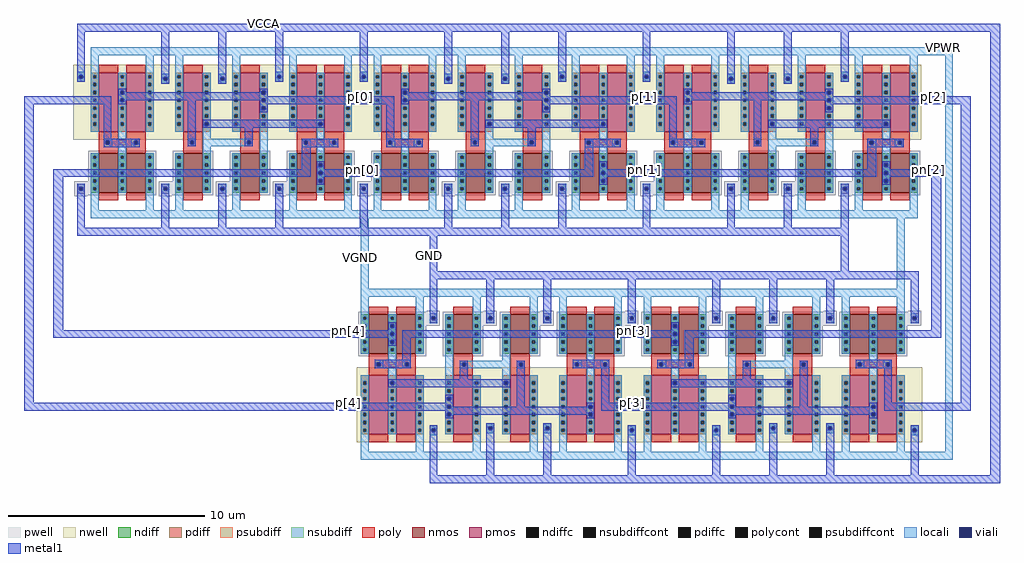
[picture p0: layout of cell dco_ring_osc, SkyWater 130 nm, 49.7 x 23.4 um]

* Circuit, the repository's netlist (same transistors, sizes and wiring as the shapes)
* NGSPICE file created from dco_ring_osc.ext - technology: sky130A

.subckt dco_aux_inv VPWR VCCA A Y GND VGND
X0 Y A VGND GND sky130_fd_pr__nfet_01v8 ad=0.8 pd=4.8 as=0.8 ps=4.8 w=2 l=1
X1 Y A VPWR VCCA sky130_fd_pr__pfet_01v8 ad=1.2 pd=6.8 as=1.2 ps=6.8 w=3 l=1
.ends

.subckt dco_main_inv VPWR VCCA Y GND VGND A
X0 Y A VGND GND sky130_fd_pr__nfet_01v8 ad=0.4 pd=2.4 as=0.8 ps=4.8 w=2 l=1 M=2
X1 VPWR A Y VCCA sky130_fd_pr__pfet_01v8 ad=1.2 pd=6.8 as=0.6 ps=3.4 w=3 l=1 M=2
.ends

.subckt dco_cc_inv outp inp inn outn VCCA VGND VPWR GND
Xdco_aux_inv_0 VPWR VCCA outp outn GND VGND dco_aux_inv
Xdco_aux_inv_1 VPWR VCCA outn outp GND VGND dco_aux_inv
Xdco_main_inv_0 VPWR VCCA outp GND VGND inp dco_main_inv
Xdco_main_inv_1 VPWR VCCA outn GND VGND inn dco_main_inv
.ends

.subckt dco_ring_osc VCCA GND VGND VPWR p[0] p[1] p[2] p[3] p[4] pn[0] pn[1] pn[2]
+ pn[3] pn[4]
Xdco_cc_inv_0 p[0] p[4] pn[4] pn[0] VCCA VGND VPWR GND dco_cc_inv
Xdco_cc_inv_1 p[1] p[0] pn[0] pn[1] VCCA VGND VPWR GND dco_cc_inv
Xdco_cc_inv_2 p[2] p[1] pn[1] pn[2] VCCA VGND VPWR GND dco_cc_inv
Xdco_cc_inv_3 p[4] p[3] pn[3] pn[4] VCCA VGND VPWR GND dco_cc_inv
Xdco_cc_inv_4 p[3] p[2] pn[2] pn[3] VCCA VGND VPWR GND dco_cc_inv
.ends

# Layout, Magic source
magic
tech sky130A
<< locali >>
rect 1360 920 1545 960
rect 2805 920 3095 960
rect 4210 920 4480 960
rect 1320 90 1585 130
rect 2810 90 3005 130
rect 1465 -330 1505 90
rect 2750 -310 2965 -270
rect 4195 -315 4235 115
rect 4440 -1100 4480 920
rect 2735 -1140 2965 -1100
rect 4175 -1140 4480 -1100
<< metal1 >>
rect 915 1040 1480 1080
rect 2345 1040 2935 1080
rect 3850 1040 4720 1080
rect -250 670 0 710
rect 1420 670 1530 710
rect 2860 670 2970 710
rect 4320 670 4570 710
rect -250 -850 -200 670
rect -100 300 0 340
rect 1420 300 1530 340
rect 2860 300 2970 340
rect 4315 300 4420 340
rect -100 -480 -50 300
rect 1025 0 1505 40
rect 1815 -235 1855 30
rect 2470 0 3005 40
rect 2815 -220 3390 -180
rect 3910 -220 3950 40
rect 4370 -480 4420 300
rect -100 -520 1445 -480
rect 2795 -520 2905 -480
rect 4320 -520 4420 -480
rect 4520 -850 4570 670
rect -250 -890 1445 -850
rect 2795 -890 2905 -850
rect 4315 -890 4570 -850
rect 4670 -1220 4720 1040
rect 2815 -1260 3310 -1220
rect 4250 -1260 4720 -1220
use dco_cc_inv  dco_cc_inv_0
transform 1 0 0 0 1 90
box 0 -90 1440 990
use dco_cc_inv  dco_cc_inv_1
transform 1 0 1440 0 1 90
box 0 -90 1440 990
use dco_cc_inv  dco_cc_inv_2
transform 1 0 2880 0 1 90
box 0 -90 1440 990
use dco_cc_inv  dco_cc_inv_3
transform -1 0 2885 0 -1 -270
box 0 -90 1440 990
use dco_cc_inv  dco_cc_inv_4
transform -1 0 4325 0 -1 -270
box 0 -90 1440 990
<< labels >>
rlabel metal1 s 970 1080 970 1080 4 VCCA
rlabel metal1 s 1815 -100 1815 -100 4 GND
rlabel locali s 1465 -110 1465 -110 4 VGND
rlabel locali s 4430 960 4430 960 4 VPWR
rlabel metal1 s 1465 710 1465 710 4 p[0]
rlabel metal1 s 2910 710 2910 710 4 p[1]
rlabel metal1 s 4380 710 4380 710 4 p[2]
rlabel metal1 s 2850 -850 2850 -850 4 p[3]
rlabel metal1 s 1400 -850 1400 -850 4 p[4]
rlabel metal1 s 1475 340 1475 340 4 pn[0]
rlabel metal1 s 2910 340 2910 340 4 pn[1]
rlabel metal1 s 4355 340 4355 340 4 pn[2]
rlabel metal1 s 2855 -480 2855 -480 4 pn[3]
rlabel metal1 s 1400 -480 1400 -480 4 pn[4]
<< end >>

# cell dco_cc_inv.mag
magic
tech sky130A
magscale 1 2
<< nwell >>
rect 1920 1260 1960 1300
rect 1920 1180 1960 1220
<< pwell >>
rect 2474 414 2566 586
<< ndiff >>
rect 2500 557 2540 560
rect 2500 523 2503 557
rect 2537 523 2540 557
rect 2500 520 2540 523
rect 2500 477 2540 480
rect 2500 443 2503 477
rect 2537 443 2540 477
rect 2500 440 2540 443
<< pdiff >>
rect 1920 1297 1960 1300
rect 1920 1263 1923 1297
rect 1957 1263 1960 1297
rect 1920 1260 1960 1263
rect 1920 1217 1960 1220
rect 1920 1183 1923 1217
rect 1957 1183 1960 1217
rect 1920 1180 1960 1183
<< ndiffc >>
rect 2503 523 2537 557
rect 2503 443 2537 477
<< pdiffc >>
rect 1923 1263 1957 1297
rect 1923 1183 1957 1217
<< poly >>
rect 1190 787 1230 790
rect 1190 753 1193 787
rect 1227 753 1230 787
rect 1190 750 1230 753
rect 1770 787 1810 790
rect 1770 753 1773 787
rect 1807 753 1810 787
rect 1770 750 1810 753
<< polycont >>
rect 1193 753 1227 787
rect 1773 753 1807 787
<< locali >>
rect 670 1660 2310 1740
rect 1040 1480 1120 1660
rect 1620 1480 1700 1660
rect 480 1297 520 1300
rect 480 1263 483 1297
rect 517 1263 520 1297
rect 480 1260 520 1263
rect 1920 1297 1960 1300
rect 1920 1263 1923 1297
rect 1957 1263 1960 1297
rect 1920 1260 1960 1263
rect 480 1217 520 1220
rect 480 1183 483 1217
rect 517 1183 520 1217
rect 480 1180 520 1183
rect 1920 1217 1960 1220
rect 1920 1183 1923 1217
rect 1957 1183 1960 1217
rect 1920 1180 1960 1183
rect 1920 1137 1960 1140
rect 1920 1103 1923 1137
rect 1957 1103 1960 1137
rect 1920 1100 1960 1103
rect 1340 977 1380 980
rect 1340 943 1343 977
rect 1377 943 1380 977
rect 1340 940 1380 943
rect 2500 977 2540 980
rect 2500 943 2503 977
rect 2537 943 2540 977
rect 2500 940 2540 943
rect 1170 787 1250 810
rect 1170 753 1193 787
rect 1227 753 1250 787
rect 1170 730 1250 753
rect 1400 787 1830 810
rect 1400 753 1773 787
rect 1807 753 1830 787
rect 1400 730 1830 753
rect 2500 557 2540 560
rect 2500 523 2503 557
rect 2537 523 2540 557
rect 2500 520 2540 523
rect 2500 477 2540 480
rect 2500 443 2503 477
rect 2537 443 2540 477
rect 2500 440 2540 443
rect 2500 397 2540 400
rect 2500 363 2503 397
rect 2537 363 2540 397
rect 2500 360 2540 363
rect 1040 80 1120 260
rect 1620 80 1700 260
rect 600 0 2220 80
<< viali >>
rect 483 1263 517 1297
rect 1923 1263 1957 1297
rect 483 1183 517 1217
rect 1923 1183 1957 1217
rect 1923 1103 1957 1137
rect 1343 943 1377 977
rect 2503 943 2537 977
rect 1193 753 1227 787
rect 1773 753 1807 787
rect 2503 523 2537 557
rect 2503 443 2537 477
rect 2503 363 2537 397
<< metal1 >>
rect 40 1900 2140 1980
rect 40 1490 120 1900
rect 900 1470 980 1900
rect 1480 1470 1560 1900
rect 2060 1490 2140 1900
rect 460 1297 540 1320
rect 460 1263 483 1297
rect 517 1280 540 1297
rect 1900 1297 1980 1320
rect 1900 1280 1923 1297
rect 517 1263 1923 1280
rect 1957 1263 1980 1297
rect 460 1240 1980 1263
rect 0 1160 390 1240
rect 460 1217 2880 1240
rect 460 1183 483 1217
rect 517 1200 1923 1217
rect 517 1183 540 1200
rect 460 1160 540 1183
rect 310 810 390 1160
rect 1170 787 1250 1200
rect 1900 1183 1923 1200
rect 1957 1183 2880 1217
rect 1900 1160 2880 1183
rect 1900 1137 1980 1160
rect 1900 1103 1923 1137
rect 1957 1103 1980 1137
rect 1900 1080 1980 1103
rect 1320 977 2560 1000
rect 1320 943 1343 977
rect 1377 943 2503 977
rect 2537 943 2560 977
rect 1320 920 2560 943
rect 1170 753 1193 787
rect 1227 753 1250 787
rect 1170 730 1250 753
rect 1750 787 1830 920
rect 1750 753 1773 787
rect 1807 753 1830 787
rect 1750 730 1830 753
rect 2330 500 2420 720
rect 0 420 2420 500
rect 2480 557 2560 580
rect 2480 523 2503 557
rect 2537 523 2560 557
rect 2480 500 2560 523
rect 2480 477 2880 500
rect 2480 443 2503 477
rect 2537 443 2880 477
rect 2480 420 2880 443
rect 2480 397 2560 420
rect 2480 363 2503 397
rect 2537 363 2560 397
rect 2480 340 2560 363
rect 40 -100 120 250
rect 900 -100 980 250
rect 1480 -100 1560 250
rect 2060 -100 2140 250
rect 40 -180 2140 -100
use dco_aux_inv  dco_aux_inv_0
transform 1 0 1120 0 1 880
box -260 -700 320 680
use dco_aux_inv  dco_aux_inv_1
transform 1 0 1700 0 1 880
box -260 -700 320 680
use dco_main_inv  dco_main_inv_0
transform 1 0 260 0 1 880
box -260 -880 600 860
use dco_main_inv  dco_main_inv_1
transform 1 0 2280 0 1 880
box -260 -880 600 860
<< labels >>
rlabel metal1 s 60 1980 60 1980 4 VCCA
rlabel locali s 1290 1740 1290 1740 4 VPWR
rlabel metal1 s 2880 1200 2880 1200 4 outp
rlabel metal1 s 0 1200 0 1200 4 inp
rlabel metal1 s 0 460 0 460 4 inn
rlabel metal1 s 2880 460 2880 460 4 outn
rlabel metal1 s 130 -180 130 -180 4 GND
rlabel locali s 1310 0 1310 0 4 VGND
<< end >>

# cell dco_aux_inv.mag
magic
tech sky130A
magscale 1 2
<< nwell >>
rect -260 -80 320 680
<< pwell >>
rect -106 -504 306 -194
rect -246 -646 306 -504
rect -246 -656 -114 -646
<< nmos >>
rect 0 -620 200 -220
<< pmos >>
rect 0 0 200 600
<< ndiff >>
rect -80 -243 0 -220
rect -80 -277 -57 -243
rect -23 -277 0 -243
rect -80 -323 0 -277
rect -80 -357 -57 -323
rect -23 -357 0 -323
rect -80 -403 0 -357
rect -80 -437 -57 -403
rect -23 -437 0 -403
rect -80 -483 0 -437
rect -80 -517 -57 -483
rect -23 -517 0 -483
rect -80 -563 0 -517
rect -80 -597 -57 -563
rect -23 -597 0 -563
rect -80 -620 0 -597
rect 200 -243 280 -220
rect 200 -277 223 -243
rect 257 -277 280 -243
rect 200 -323 280 -277
rect 200 -357 223 -323
rect 257 -357 280 -323
rect 200 -403 280 -357
rect 200 -437 223 -403
rect 257 -437 280 -403
rect 200 -483 280 -437
rect 200 -517 223 -483
rect 257 -517 280 -483
rect 200 -563 280 -517
rect 200 -597 223 -563
rect 257 -597 280 -563
rect 200 -620 280 -597
<< pdiff >>
rect -80 577 0 600
rect -80 543 -57 577
rect -23 543 0 577
rect -80 497 0 543
rect -80 463 -57 497
rect -23 463 0 497
rect -80 417 0 463
rect -80 383 -57 417
rect -23 383 0 417
rect -80 337 0 383
rect -80 303 -57 337
rect -23 303 0 337
rect -80 257 0 303
rect -80 223 -57 257
rect -23 223 0 257
rect -80 177 0 223
rect -80 143 -57 177
rect -23 143 0 177
rect -80 97 0 143
rect -80 63 -57 97
rect -23 63 0 97
rect -80 0 0 63
rect 200 577 280 600
rect 200 543 223 577
rect 257 543 280 577
rect 200 497 280 543
rect 200 463 223 497
rect 257 463 280 497
rect 200 417 280 463
rect 200 383 223 417
rect 257 383 280 417
rect 200 337 280 383
rect 200 303 223 337
rect 257 303 280 337
rect 200 257 280 303
rect 200 223 223 257
rect 257 223 280 257
rect 200 177 280 223
rect 200 143 223 177
rect 257 143 280 177
rect 200 97 280 143
rect 200 63 223 97
rect 257 63 280 97
rect 200 0 280 63
<< ndiffc >>
rect -57 -277 -23 -243
rect -57 -357 -23 -323
rect -57 -437 -23 -403
rect -57 -517 -23 -483
rect -57 -597 -23 -563
rect 223 -277 257 -243
rect 223 -357 257 -323
rect 223 -437 257 -403
rect 223 -517 257 -483
rect 223 -597 257 -563
<< pdiffc >>
rect -57 543 -23 577
rect -57 463 -23 497
rect -57 383 -23 417
rect -57 303 -23 337
rect -57 223 -23 257
rect -57 143 -23 177
rect -57 63 -23 97
rect 223 543 257 577
rect 223 463 257 497
rect 223 383 257 417
rect 223 303 257 337
rect 223 223 257 257
rect 223 143 257 177
rect 223 63 257 97
<< psubdiff >>
rect -220 -563 -140 -530
rect -220 -597 -197 -563
rect -163 -597 -140 -563
rect -220 -630 -140 -597
<< nsubdiff >>
rect -220 557 -140 590
rect -220 523 -197 557
rect -163 523 -140 557
rect -220 490 -140 523
<< psubdiffcont >>
rect -197 -597 -163 -563
<< nsubdiffcont >>
rect -197 523 -163 557
<< poly >>
rect 0 600 200 680
rect 0 -220 200 0
rect 0 -700 200 -620
<< locali >>
rect -220 557 -140 590
rect -220 523 -197 557
rect -163 523 -140 557
rect -220 490 -140 523
rect -80 577 0 600
rect -80 543 -57 577
rect -23 543 0 577
rect -80 497 0 543
rect -80 463 -57 497
rect -23 463 0 497
rect -80 417 0 463
rect -80 383 -57 417
rect -23 383 0 417
rect -80 337 0 383
rect -80 303 -57 337
rect -23 303 0 337
rect -80 257 0 303
rect -80 223 -57 257
rect -23 223 0 257
rect -80 177 0 223
rect -80 143 -57 177
rect -23 143 0 177
rect -80 97 0 143
rect -80 63 -57 97
rect -23 63 0 97
rect -80 0 0 63
rect 200 577 280 600
rect 200 543 223 577
rect 257 543 280 577
rect 200 497 280 543
rect 200 463 223 497
rect 257 463 280 497
rect 200 417 280 463
rect 200 383 223 417
rect 257 383 280 417
rect 200 337 280 383
rect 200 303 223 337
rect 257 303 280 337
rect 200 257 280 303
rect 200 223 223 257
rect 257 223 280 257
rect 200 177 280 223
rect 200 143 223 177
rect 257 143 280 177
rect 200 97 280 143
rect 200 63 223 97
rect 257 63 280 97
rect -80 -243 0 -220
rect -80 -277 -57 -243
rect -23 -277 0 -243
rect -80 -323 0 -277
rect -80 -357 -57 -323
rect -23 -357 0 -323
rect -80 -403 0 -357
rect -80 -437 -57 -403
rect -23 -437 0 -403
rect -80 -483 0 -437
rect -80 -517 -57 -483
rect -23 -517 0 -483
rect -220 -563 -140 -530
rect -220 -597 -197 -563
rect -163 -597 -140 -563
rect -220 -630 -140 -597
rect -80 -563 0 -517
rect -80 -597 -57 -563
rect -23 -597 0 -563
rect -80 -620 0 -597
rect 200 -243 280 63
rect 200 -277 223 -243
rect 257 -277 280 -243
rect 200 -323 280 -277
rect 200 -357 223 -323
rect 257 -357 280 -323
rect 200 -403 280 -357
rect 200 -437 223 -403
rect 257 -437 280 -403
rect 200 -483 280 -437
rect 200 -517 223 -483
rect 257 -517 280 -483
rect 200 -563 280 -517
rect 200 -597 223 -563
rect 257 -597 280 -563
rect 200 -620 280 -597
<< viali >>
rect -197 523 -163 557
rect -197 -597 -163 -563
<< metal1 >>
rect -220 557 -140 590
rect -220 523 -197 557
rect -163 523 -140 557
rect -220 490 -140 523
rect -220 -563 -140 -530
rect -220 -597 -197 -563
rect -163 -597 -140 -563
rect -220 -630 -140 -597
<< labels >>
rlabel locali s -40 600 -40 600 4 VPWR
rlabel metal1 s -180 590 -180 590 4 VCCA
rlabel poly s 0 -110 0 -110 4 A
rlabel locali s 280 -110 280 -110 4 Y
rlabel metal1 s -180 -530 -180 -530 4 GND
rlabel locali s -40 -620 -40 -620 4 VGND
<< end >>

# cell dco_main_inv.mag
magic
tech sky130A
magscale 1 2
<< nwell >>
rect -260 -80 600 680
<< pwell >>
rect -106 -504 586 -194
rect -246 -646 586 -504
rect -246 -656 -114 -646
<< nmos >>
rect 0 -620 200 -220
rect 280 -620 480 -220
<< pmos >>
rect 0 0 200 600
rect 280 0 480 600
<< ndiff >>
rect -80 -243 0 -220
rect -80 -277 -57 -243
rect -23 -277 0 -243
rect -80 -323 0 -277
rect -80 -357 -57 -323
rect -23 -357 0 -323
rect -80 -403 0 -357
rect -80 -437 -57 -403
rect -23 -437 0 -403
rect -80 -483 0 -437
rect -80 -517 -57 -483
rect -23 -517 0 -483
rect -80 -563 0 -517
rect -80 -597 -57 -563
rect -23 -597 0 -563
rect -80 -620 0 -597
rect 200 -243 280 -220
rect 200 -277 223 -243
rect 257 -277 280 -243
rect 200 -323 280 -277
rect 200 -357 223 -323
rect 257 -357 280 -323
rect 200 -403 280 -357
rect 200 -437 223 -403
rect 257 -437 280 -403
rect 200 -483 280 -437
rect 200 -517 223 -483
rect 257 -517 280 -483
rect 200 -563 280 -517
rect 200 -597 223 -563
rect 257 -597 280 -563
rect 200 -620 280 -597
rect 480 -243 560 -220
rect 480 -277 503 -243
rect 537 -277 560 -243
rect 480 -323 560 -277
rect 480 -357 503 -323
rect 537 -357 560 -323
rect 480 -403 560 -357
rect 480 -437 503 -403
rect 537 -437 560 -403
rect 480 -483 560 -437
rect 480 -517 503 -483
rect 537 -517 560 -483
rect 480 -563 560 -517
rect 480 -597 503 -563
rect 537 -597 560 -563
rect 480 -620 560 -597
<< pdiff >>
rect -80 577 0 600
rect -80 543 -57 577
rect -23 543 0 577
rect -80 497 0 543
rect -80 463 -57 497
rect -23 463 0 497
rect -80 417 0 463
rect -80 383 -57 417
rect -23 383 0 417
rect -80 337 0 383
rect -80 303 -57 337
rect -23 303 0 337
rect -80 257 0 303
rect -80 223 -57 257
rect -23 223 0 257
rect -80 177 0 223
rect -80 143 -57 177
rect -23 143 0 177
rect -80 97 0 143
rect -80 63 -57 97
rect -23 63 0 97
rect -80 0 0 63
rect 200 577 280 600
rect 200 543 223 577
rect 257 543 280 577
rect 200 497 280 543
rect 200 463 223 497
rect 257 463 280 497
rect 200 417 280 463
rect 200 383 223 417
rect 257 383 280 417
rect 200 337 280 383
rect 200 303 223 337
rect 257 303 280 337
rect 200 257 280 303
rect 200 223 223 257
rect 257 223 280 257
rect 200 177 280 223
rect 200 143 223 177
rect 257 143 280 177
rect 200 97 280 143
rect 200 63 223 97
rect 257 63 280 97
rect 200 0 280 63
rect 480 577 560 600
rect 480 543 503 577
rect 537 543 560 577
rect 480 497 560 543
rect 480 463 503 497
rect 537 463 560 497
rect 480 417 560 463
rect 480 383 503 417
rect 537 383 560 417
rect 480 337 560 383
rect 480 303 503 337
rect 537 303 560 337
rect 480 257 560 303
rect 480 223 503 257
rect 537 223 560 257
rect 480 177 560 223
rect 480 143 503 177
rect 537 143 560 177
rect 480 97 560 143
rect 480 63 503 97
rect 537 63 560 97
rect 480 0 560 63
<< ndiffc >>
rect -57 -277 -23 -243
rect -57 -357 -23 -323
rect -57 -437 -23 -403
rect -57 -517 -23 -483
rect -57 -597 -23 -563
rect 223 -277 257 -243
rect 223 -357 257 -323
rect 223 -437 257 -403
rect 223 -517 257 -483
rect 223 -597 257 -563
rect 503 -277 537 -243
rect 503 -357 537 -323
rect 503 -437 537 -403
rect 503 -517 537 -483
rect 503 -597 537 -563
<< pdiffc >>
rect -57 543 -23 577
rect -57 463 -23 497
rect -57 383 -23 417
rect -57 303 -23 337
rect -57 223 -23 257
rect -57 143 -23 177
rect -57 63 -23 97
rect 223 543 257 577
rect 223 463 257 497
rect 223 383 257 417
rect 223 303 257 337
rect 223 223 257 257
rect 223 143 257 177
rect 223 63 257 97
rect 503 543 537 577
rect 503 463 537 497
rect 503 383 537 417
rect 503 303 537 337
rect 503 223 537 257
rect 503 143 537 177
rect 503 63 537 97
<< psubdiff >>
rect -220 -563 -140 -530
rect -220 -597 -197 -563
rect -163 -597 -140 -563
rect -220 -630 -140 -597
<< nsubdiff >>
rect -220 577 -140 610
rect -220 543 -197 577
rect -163 543 -140 577
rect -220 510 -140 543
<< psubdiffcont >>
rect -197 -597 -163 -563
<< nsubdiffcont >>
rect -197 543 -163 577
<< poly >>
rect 0 600 200 680
rect 280 600 480 680
rect 0 -80 200 0
rect 280 -80 480 0
rect 0 -93 480 -80
rect 0 -127 73 -93
rect 107 -127 363 -93
rect 397 -127 480 -93
rect 0 -140 480 -127
rect 0 -220 200 -140
rect 280 -220 480 -140
rect 0 -700 200 -620
rect 280 -700 480 -620
<< polycont >>
rect 73 -127 107 -93
rect 363 -127 397 -93
<< locali >>
rect -80 780 560 860
rect -220 577 -140 610
rect -220 543 -197 577
rect -163 543 -140 577
rect -220 510 -140 543
rect -80 577 0 780
rect -80 543 -57 577
rect -23 543 0 577
rect -80 497 0 543
rect -80 463 -57 497
rect -23 463 0 497
rect -80 417 0 463
rect -80 383 -57 417
rect -23 383 0 417
rect -80 337 0 383
rect -80 303 -57 337
rect -23 303 0 337
rect -80 257 0 303
rect -80 223 -57 257
rect -23 223 0 257
rect -80 177 0 223
rect -80 143 -57 177
rect -23 143 0 177
rect -80 97 0 143
rect -80 63 -57 97
rect -23 63 0 97
rect -80 0 0 63
rect 200 577 280 600
rect 200 543 223 577
rect 257 543 280 577
rect 200 497 280 543
rect 200 463 223 497
rect 257 463 280 497
rect 200 417 280 463
rect 200 383 223 417
rect 257 383 280 417
rect 200 337 280 383
rect 200 303 223 337
rect 257 303 280 337
rect 200 257 280 303
rect 200 223 223 257
rect 257 223 280 257
rect 200 177 280 223
rect 200 143 223 177
rect 257 143 280 177
rect 200 97 280 143
rect 200 63 223 97
rect 257 63 280 97
rect 50 -93 140 -70
rect 50 -127 73 -93
rect 107 -127 140 -93
rect 50 -160 140 -127
rect -80 -243 0 -220
rect -80 -277 -57 -243
rect -23 -277 0 -243
rect -80 -323 0 -277
rect -80 -357 -57 -323
rect -23 -357 0 -323
rect -80 -403 0 -357
rect -80 -437 -57 -403
rect -23 -437 0 -403
rect -80 -483 0 -437
rect -80 -517 -57 -483
rect -23 -517 0 -483
rect -220 -563 -140 -530
rect -220 -597 -197 -563
rect -163 -597 -140 -563
rect -220 -630 -140 -597
rect -80 -563 0 -517
rect -80 -597 -57 -563
rect -23 -597 0 -563
rect -80 -800 0 -597
rect 200 -243 280 63
rect 480 577 560 780
rect 480 543 503 577
rect 537 543 560 577
rect 480 497 560 543
rect 480 463 503 497
rect 537 463 560 497
rect 480 417 560 463
rect 480 383 503 417
rect 537 383 560 417
rect 480 337 560 383
rect 480 303 503 337
rect 537 303 560 337
rect 480 257 560 303
rect 480 223 503 257
rect 537 223 560 257
rect 480 177 560 223
rect 480 143 503 177
rect 537 143 560 177
rect 480 97 560 143
rect 480 63 503 97
rect 537 63 560 97
rect 480 0 560 63
rect 330 -93 420 -70
rect 330 -127 363 -93
rect 397 -127 420 -93
rect 330 -160 420 -127
rect 200 -277 223 -243
rect 257 -277 280 -243
rect 200 -323 280 -277
rect 200 -357 223 -323
rect 257 -357 280 -323
rect 200 -403 280 -357
rect 200 -437 223 -403
rect 257 -437 280 -403
rect 200 -483 280 -437
rect 200 -517 223 -483
rect 257 -517 280 -483
rect 200 -563 280 -517
rect 200 -597 223 -563
rect 257 -597 280 -563
rect 200 -620 280 -597
rect 480 -243 560 -220
rect 480 -277 503 -243
rect 537 -277 560 -243
rect 480 -323 560 -277
rect 480 -357 503 -323
rect 537 -357 560 -323
rect 480 -403 560 -357
rect 480 -437 503 -403
rect 537 -437 560 -403
rect 480 -483 560 -437
rect 480 -517 503 -483
rect 537 -517 560 -483
rect 480 -563 560 -517
rect 480 -597 503 -563
rect 537 -597 560 -563
rect 480 -800 560 -597
rect -80 -880 560 -800
<< viali >>
rect -197 543 -163 577
rect 73 -127 107 -93
rect -197 -597 -163 -563
rect 363 -127 397 -93
<< metal1 >>
rect -220 577 -140 610
rect -220 543 -197 577
rect -163 543 -140 577
rect -220 510 -140 543
rect 50 -93 420 -70
rect 50 -127 73 -93
rect 107 -127 363 -93
rect 397 -127 420 -93
rect 50 -160 420 -127
rect -220 -563 -140 -530
rect -220 -597 -197 -563
rect -163 -597 -140 -563
rect -220 -630 -140 -597
<< labels >>
rlabel locali s 240 860 240 860 4 VPWR
rlabel metal1 s -180 610 -180 610 4 VCCA
rlabel locali s 240 600 240 600 4 Y
rlabel metal1 s -180 -530 -180 -530 4 GND
rlabel locali s 240 -800 240 -800 4 VGND
rlabel metal1 s 50 -110 50 -110 4 A
<< end >>
